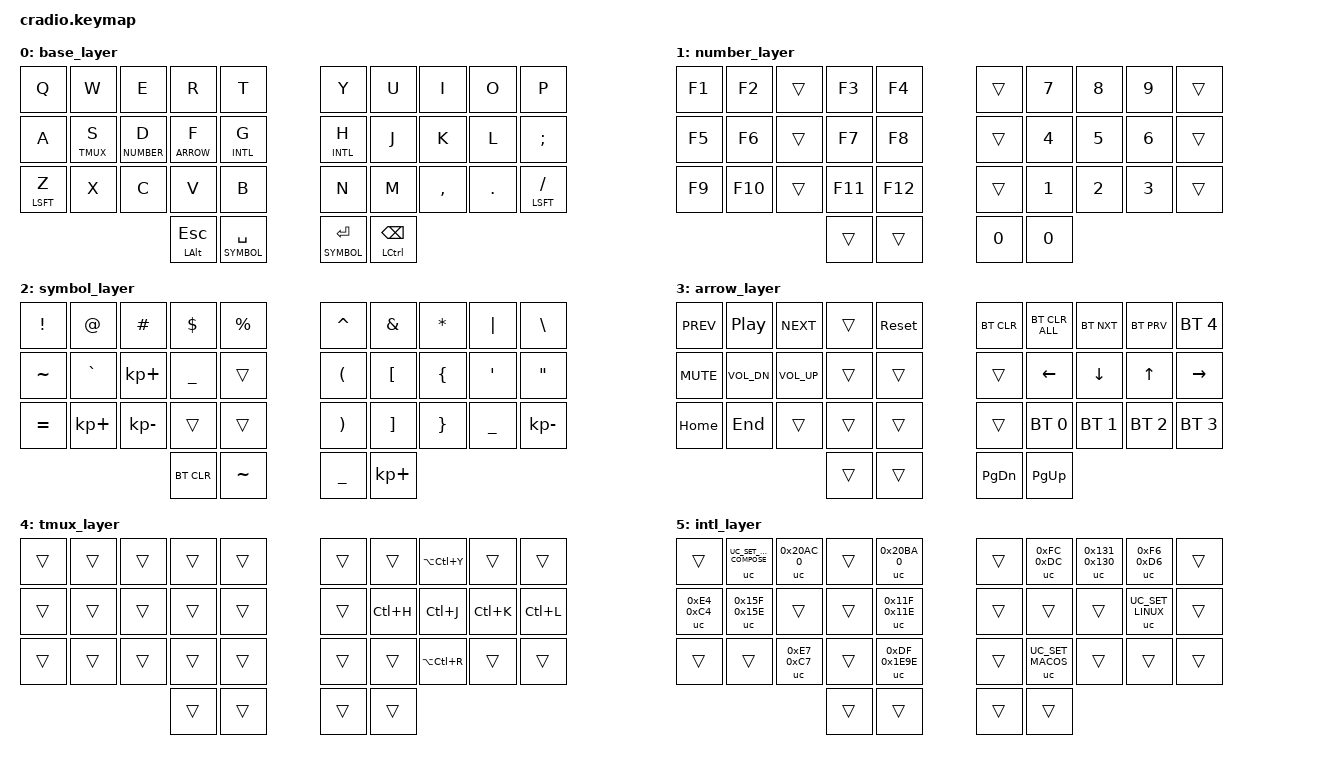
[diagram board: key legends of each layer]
/*
 * Copyright (c) 2020 The ZMK Contributors
 *
 * SPDX-License-Identifier: MIT
 */

#include <behaviors.dtsi>
#include <dt-bindings/zmk/keys.h>
#include <dt-bindings/zmk/bt.h>
#include <behaviors/unicode.dtsi>

// Unicode input mode at boot. Switch at runtime with INTL+L / INTL+M / INTL+W.
&uc {
    default-mode = <UC_MODE_LINUX>;
};

/ { 
    combos {
        compatible = "zmk,combos";
        combo_del {
            timeout-ms = <50>;
            key-positions = <15 16>;
            bindings = <&kp BSPC>;
        };
        combo_tab {
            timeout-ms = <50>;
            key-positions = <16 17>;
            bindings = <&kp TAB>;
        };
        combo_alt {
            timeout-ms = <50>;
            key-positions = <25 26>;
            bindings = <&kp LGUI>;
        };
    };

#define BASE 0
#define NUMBER 1
#define SYMBOL 2
#define ARROW 3
#define TMUX 4
#define INTL 5

    keymap {
        compatible = "zmk,keymap";
                
        base_layer {
// ┌─────┬─────┬─────┬─────┬─────┐   ┌─────┬─────┬─────┬─────┬─────┐
// │  Q  │  W  │  E  │  R  │  T  │   │  Y  │  U  │  I  │  O  │  P  │
// ├─────┼─────┼─────┼─────┼─────┤   ├─────┼─────┼─────┼─────┼─────┤
// │  A  │S TMX│D NUM│F ARR│G INT│   │H INT│  J  │  K  │  L  │  ;  │
// ├─────┼─────┼─────┼─────┼─────┤   ├─────┼─────┼─────┼─────┼─────┤
// │Z SFT│  X  │  C  │  V  │  B  │   │  N  │  M  │  ,  │  .  │/ SFT│
// └─────┴─────┴─────┼─────┼─────┤   ├─────┼─────┼─────┴─────┴─────┘
//                   │EALT │SPC  │   │ ENT │BCTL │
//                   │ ESC │ SYM │   │ SYM │BSPC │
//                   └─────┴─────┘   └─────┴─────┘
            bindings = <
                &kp Q         &kp W         &kp E           &kp R           &kp T       &kp Y         &kp U         &kp I         &kp O         &kp P
                &kp A         &lt TMUX S    &lt NUMBER D   &lt ARROW F    &lt INTL G  &lt INTL H    &kp J         &kp K         &kp L         &kp SEMICOLON
                &mt LSFT Z    &kp X         &kp C           &kp V           &kp B       &kp N         &kp M         &kp COMMA     &kp DOT       &mt LSFT SLASH
                                                            &mt LALT ESC    &lt SYMBOL SPACE   &lt SYMBOL ENTER   &mt LCTRL BSPC
            >;
        };

        number_layer {
// ┌─────┬─────┬─────┬─────┬─────┐   ┌─────┬─────┬─────┬─────┬─────┐
// │ F1  │ F2  │     │ F3  │ F4  │   │     │  7  │  8  │  9  │     │
// ├─────┼─────┼─────┼─────┼─────┤   ├─────┼─────┼─────┼─────┼─────┤
// │ F5  │ F6  │(HLD)│ F7  │ F8  │   │     │  4  │  5  │  6  │     │
// ├─────┼─────┼─────┼─────┼─────┤   ├─────┼─────┼─────┼─────┼─────┤
// │ F9  │ F10 │     │ F11 │ F12 │   │     │  1  │  2  │  3  │     │
// └─────┴─────┴─────┼─────┼─────┤   ├─────┼─────┼─────┴─────┴─────┘
//                   │     │     │   │  0  │  0  │
//                   └─────┴─────┘   └─────┴─────┘
            bindings = <
                &kp F1        &kp F2        &trans          &kp F3          &kp F4      &trans        &kp N7        &kp N8        &kp N9        &trans     
                &kp F5        &kp F6        &trans          &kp F7          &kp F8      &trans        &kp N4        &kp N5        &kp N6        &trans 
                &kp F9        &kp F10       &trans          &kp F11         &kp F12     &trans        &kp N1        &kp N2        &kp N3        &trans
                                                            &trans          &trans      &kp N0        &kp N0 
            >;
        };
        
        symbol_layer {
// ┌─────┬─────┬─────┬─────┬─────┐   ┌─────┬─────┬─────┬─────┬─────┐
// │  !  │  @  │  #  │  $  │  %  │   │  ^  │  &  │  *  │  |  │  \  │
// ├─────┼─────┼─────┼─────┼─────┤   ├─────┼─────┼─────┼─────┼─────┤
// │  ~  │  `  │  +  │  _  │     │   │  (  │  [  │  {  │  '  │  "  │
// ├─────┼─────┼─────┼─────┼─────┤   ├─────┼─────┼─────┼─────┼─────┤
// │  =  │  +  │  -  │     │     │   │  )  │  ]  │  }  │  _  │  -  │
// └─────┴─────┴─────┼─────┼─────┤   ├─────┼─────┼─────┴─────┴─────┘
//                   │BTCLR│  ~  │   │  _  │  +  │
//                   └─────┴─────┘   └─────┴─────┘
            bindings = <
                &kp EXCL      &kp AT        &kp HASH        &kp DOLLAR      &kp PERCENT    &kp CARET     &kp AMPERSAND &kp ASTERISK  &kp PIPE      &kp BACKSLASH
                &kp TILDE     &kp GRAVE     &kp KP_PLUS     &kp UNDER       &trans         &kp LPAR      &kp LBKT      &kp LBRC      &kp SQT       &kp DQT  
                &kp EQUAL     &kp KP_PLUS   &kp KP_MINUS    &trans          &trans         &kp RPAR      &kp RBKT      &kp RBRC      &kp UNDER     &kp KP_MINUS  
                                                            &bt BT_CLR      &kp TILDE      &kp UNDER     &kp KP_PLUS  
            >;
        };    
        
        arrow_layer {
// ┌─────┬─────┬─────┬─────┬─────┐   ┌─────┬─────┬─────┬─────┬─────┐
// │PREV │PLAY │NEXT │     │RESET│   │BTCLR│BTALL│BTNXT│BTPRV│ BT4 │
// ├─────┼─────┼─────┼─────┼─────┤   ├─────┼─────┼─────┼─────┼─────┤
// │MUTE │VOL- │VOL+ │(HLD)│     │   │     │  ←  │  ↓  │  ↑  │  →  │
// ├─────┼─────┼─────┼─────┼─────┤   ├─────┼─────┼─────┼─────┼─────┤
// │HOME │ END │     │     │     │   │     │ BT0 │ BT1 │ BT2 │ BT3 │
// └─────┴─────┴─────┼─────┼─────┤   ├─────┼─────┼─────┴─────┴─────┘
//                   │     │     │   │PGDN │PGUP │
//                   └─────┴─────┘   └─────┴─────┘
            bindings = <
                &kp C_PREV    &kp C_PP      &kp C_NEXT      &trans          &sys_reset     &bt BT_CLR    &bt BT_CLR_ALL &bt BT_NXT   &bt BT_PRV    &bt BT_SEL 4
                &kp C_MUTE    &kp C_VOL_DN  &kp C_VOL_UP    &trans          &trans         &trans        &kp LEFT      &kp DOWN     &kp UP        &kp RIGHT  
                &kp HOME      &kp END       &trans          &trans          &trans         &trans        &bt BT_SEL 0  &bt BT_SEL 1 &bt BT_SEL 2  &bt BT_SEL 3
                                                            &trans          &trans         &kp PG_DN     &kp PG_UP  
            >;
        };    

        tmux_layer {
// ┌─────┬─────┬─────┬─────┬─────┐   ┌─────┬─────┬─────┬─────┬─────┐
// │     │     │     │     │     │   │     │     │C-A-Y│     │     │
// ├─────┼─────┼─────┼─────┼─────┤   ├─────┼─────┼─────┼─────┼─────┤
// │     │     │     │     │     │   │     │ C-H │ C-J │ C-K │ C-L │
// ├─────┼─────┼─────┼─────┼─────┤   ├─────┼─────┼─────┼─────┼─────┤
// │     │     │     │     │     │   │     │     │C-A-R│     │     │
// └─────┴─────┴─────┼─────┼─────┤   ├─────┼─────┼─────┴─────┴─────┘
//                   │     │     │   │     │     │
//                   └─────┴─────┘   └─────┴─────┘
            bindings = <
                &trans        &trans        &trans          &trans          &trans         &trans        &trans        &kp LA(LC(Y)) &trans        &trans     
                &trans        &trans        &trans          &trans          &trans         &trans        &kp LC(H)     &kp LC(J)     &kp LC(K)     &kp LC(L)
                &trans        &trans        &trans          &trans          &trans         &trans        &trans        &kp LA(LC(R)) &trans        &trans 
                                                            &trans          &trans         &trans        &trans  
            >;
        };    

        intl_layer {
// Hold G for right-hand letters, hold H for left-hand letters. Shift = uppercase.
// Z and / stay Shift (trans). L/M/W pick the unicode mode: Linux/macOS/Windows.
// ┌─────┬─────┬─────┬─────┬─────┐   ┌─────┬─────┬─────┬─────┬─────┐
// │     │ WIN │  €  │     │  ₺  │   │     │ ü Ü │ ı İ │ ö Ö │     │
// ├─────┼─────┼─────┼─────┼─────┤   ├─────┼─────┼─────┼─────┼─────┤
// │ ä Ä │ ş Ş │     │     │ ğ Ğ │   │     │     │     │LINUX│     │
// ├─────┼─────┼─────┼─────┼─────┤   ├─────┼─────┼─────┼─────┼─────┤
// │ SFT │     │ ç Ç │     │ ß ẞ │   │     │ MAC │     │     │ SFT │
// └─────┴─────┴─────┼─────┼─────┤   ├─────┼─────┼─────┴─────┴─────┘
//                   │     │     │   │     │     │
//                   └─────┴─────┘   └─────┴─────┘
            bindings = <
                &trans        &uc UC_SET_WIN_COMPOSE &uc 0x20AC 0 &trans    &uc 0x20BA 0   &trans        &uc 0xFC 0xDC &uc 0x131 0x130 &uc 0xF6 0xD6 &trans
                &uc 0xE4 0xC4 &uc 0x15F 0x15E &trans        &trans          &uc 0x11F 0x11E &trans       &trans        &trans        &uc UC_SET_LINUX &trans
                &trans        &trans        &uc 0xE7 0xC7   &trans          &uc 0xDF 0x1E9E &trans       &uc UC_SET_MACOS &trans     &trans        &trans
                                                            &trans          &trans         &trans        &trans
            >;
        };
    };
};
